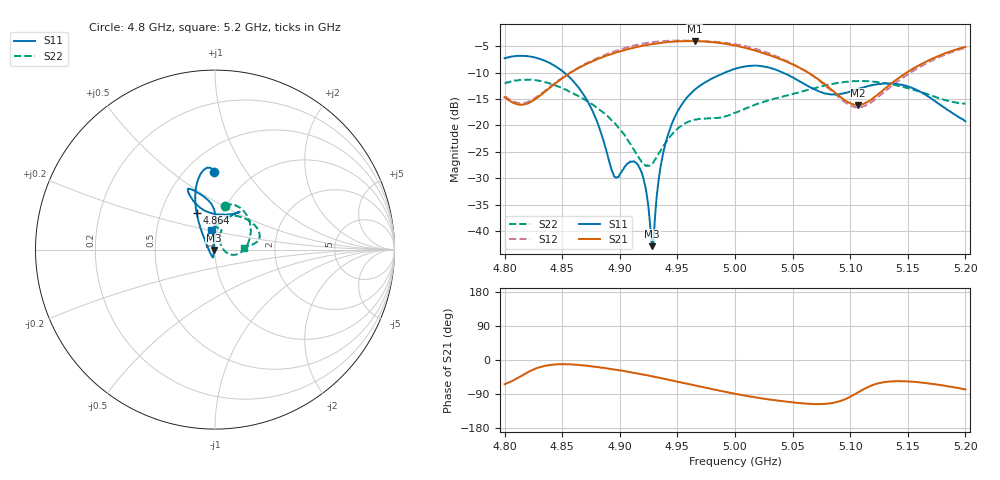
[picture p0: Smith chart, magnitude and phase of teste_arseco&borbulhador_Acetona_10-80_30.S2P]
! Network Analyzer HP8722D
! Hewlett-Packard
! Data name: Linha & Wilkinson
! Saver's name: Rodrigo Anjos
! Comments: Teste da utilização de aquisição
! continua pelo VNA HP8722D
! Time and date: 25/4/2025 15:31
!  Frequency  S11  S21  S12  S22
# HZ  S  MA R 50
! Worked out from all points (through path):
!   401 points, 4.8 GHz to 5.2 GHz, reference 50 ohm
!   highest |S21| = -3.97 dB at 4.965 GHz (marker M1); lowest = -16.1 dB at 5.107 GHz (marker M2)
!   lowest |S11| = -42.9 dB at 4.928 GHz (marker M3), VSWR 1.01, Z = 49.3 - j0.152 ohm
!   |S11| at or under -10 dB: 4.852 GHz to 4.991 GHz (138.7 MHz wide, 2.82 % of centre); 5.042 GHz to end of sweep
!   |S22| runs from -27.7 to -11.3 dB; largest |S21 - S12| = 1.2
!   S11 on the Smith chart (normalised r, x): 4.8 GHz: 0.68, +0.73; 4.864 GHz: 0.75, +0.33; 5.2 GHz: 0.94, +0.21
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4.8e9  0.4343 90.5  0.1856 -63.8  0.1907 69.7  0.2509 77.1
4.821e9  0.4527 97.1  0.1635 -31.0  0.1688 99.9  0.2718 60.7
4.864e9  0.2307 116.5  0.3508 -12.8  0.3534 121.0  0.1897 11.9
4.867e9  0.2078 118.1  0.3646 -14.0  0.3689 120.5  0.1833 8.7
4.88e9  0.1107 128.5  0.4238 -18.6  0.4338 118.2  0.1482 -5.3
4.895e9  0.03291 -172.4  0.485 -25.1  0.5025 113.5  0.1065 -16.2
4.91e9  0.04529 -105.8  0.5401 -32.6  0.5656 107.1  0.06479 -13.8
4.917e9  0.0398 -103.0  0.5625 -36.6  0.5897 103.5  0.04852 -1.0
4.922e9  0.02687 -106.6  0.5769 -39.3  0.6035 100.6  0.04194 15.9
4.928e9  0.007162 -167.5  0.5903 -43.1  0.6177 96.9  0.04374 41.6
4.93e9  0.011 124.7  0.5968 -44.4  0.6212 95.7  0.04663 48.5
4.934e9  0.03226 99.5  0.6038 -46.9  0.6288 93.1  0.05483 58.6
4.939e9  0.06315 92.5  0.6151 -50.1  0.6352 89.9  0.06668 66.1
4.946e9  0.1088 89.5  0.6236 -54.5  0.6394 85.4  0.08422 69.9
4.965e9  0.2176 90.8  0.6334 -67.0  0.638 73.3  0.1139 71.8
5e9  0.3449 108.9  0.5737 -89.1  0.5929 50.7  0.1319 88.5
5.029e9  0.3556 115.0  0.4701 -104.0  0.486 34.0  0.1731 85.8
5.067e9  0.2255 104.9  0.3005 -115.9  0.298 23.6  0.2229 57.1
5.107e9  0.2221 63.6  0.1563 -85.1  0.148 58.0  0.2643 24.1
5.134e9  0.2509 56.9  0.2418 -56.9  0.2273 88.7  0.2474 12.3
5.167e9  0.1904 68.2  0.4084 -61.4  0.392 85.5  0.1984 7.0
5.2e9  0.1098 100.3  0.557 -77.7  0.545 70.0  0.1611 3.8
